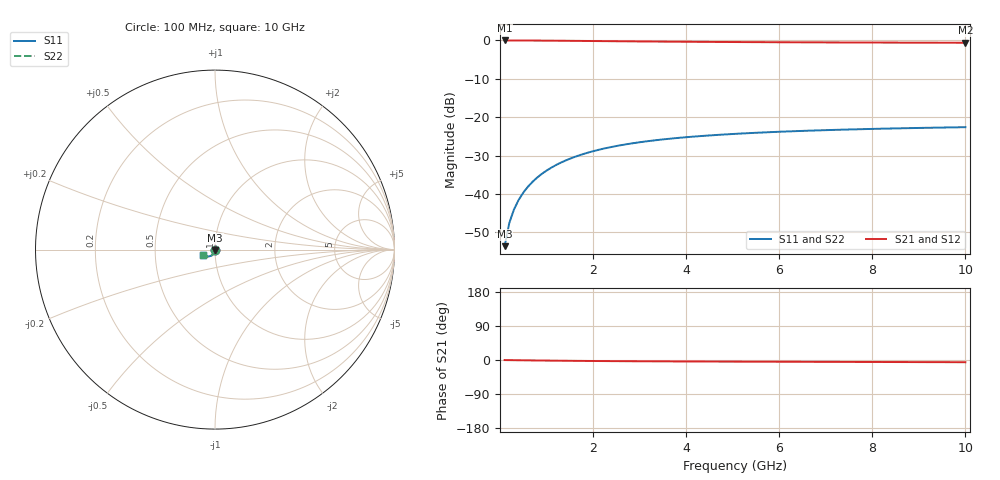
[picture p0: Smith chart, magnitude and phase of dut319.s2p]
! Touchstone file exported from HFSS 2024.1.0
!  File:  C:/UserFiles/LocalFiles/RDL_TSV_Batchsim/temp_TSV1_319_1779616734.aedt
!  Generated:  06:04:51 PM May 24, 2026
!  Design:  TSV1
!  Project:  temp_TSV1_319_1779616734
!  Setup:  Setup1
!  Solution:  Sweep
! Variables:
!  dtsv = 14.59um
!  hbump = 3um
!  htsv = 88.03um
!  lrdl = 252.1521522um
!  p = 40
!  p1 = 46.69um
!  t = 500um
!  trdl = 3um
!  wrdl = 24.89489489um
# GHz S MA R 50.000000
! Terminal data exported
! Port[1] = TSV22_T1
! Port[2] = TSV22_T2
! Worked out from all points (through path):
!   100 points, 100 MHz to 10 GHz, reference 50 ohm
!   highest |S21| = 0.00 dB at 100 MHz (marker M1); lowest = -0.6 dB at 10 GHz (marker M2)
!   lowest |S11| = -53.6 dB at 100 MHz (marker M3), VSWR 1.00, Z = 50 - j0.208 ohm
!   |S11| at or under -10 dB: start of sweep to end of sweep
!   |S22| runs from -53.6 to -22.6 dB; largest |S21 - S12| = 4.5e-15
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0.1  0.002082 -89.2  0.9998 -0.2  0.9998 -0.2  0.002082 -89.2
! Gamma 0 0 0 0
! Port Impedance 50 0 50 0
0.2  0.004165 -91.9  0.9996 -0.3  0.9996 -0.3  0.004165 -91.9
0.3  0.006246 -93.8  0.9993 -0.5  0.9993 -0.5  0.006246 -93.8
0.4  0.008314 -95.6  0.9989 -0.6  0.9989 -0.6  0.008314 -95.6
0.5  0.01036 -97.4  0.9984 -0.8  0.9984 -0.8  0.01036 -97.4
0.6  0.01238 -99.1  0.9977 -0.9  0.9977 -0.9  0.01238 -99.1
0.7  0.01437 -100.7  0.997 -1.1  0.997 -1.1  0.01437 -100.7
0.8  0.01632 -102.3  0.9962 -1.2  0.9962 -1.2  0.01632 -102.3
0.9  0.01823 -103.9  0.9953 -1.4  0.9953 -1.4  0.01823 -103.9
1.1  0.02192 -107.0  0.9934 -1.6  0.9934 -1.6  0.02192 -107.0
1.4  0.02707 -111.3  0.9901 -2.0  0.9901 -2.0  0.02707 -111.3
1.6  0.03025 -113.9  0.9877 -2.2  0.9877 -2.2  0.03025 -113.9
1.8  0.03322 -116.4  0.9853 -2.4  0.9853 -2.4  0.03322 -116.4
2.1  0.03729 -119.9  0.9816 -2.7  0.9816 -2.7  0.03729 -119.9
2.5  0.04205 -124.1  0.9767 -3.0  0.9767 -3.0  0.04205 -124.1
2.9  0.04615 -127.8  0.9722 -3.3  0.9722 -3.3  0.04615 -127.8
3.4  0.0505 -131.8  0.9669 -3.6  0.9669 -3.6  0.0505 -131.8
4.2  0.05605 -137.0  0.9597 -3.9  0.9597 -3.9  0.05605 -137.0
5.1  0.06082 -141.6  0.9531 -4.3  0.9531 -4.3  0.06082 -141.6
6.7  0.06686 -147.7  0.9444 -4.8  0.9444 -4.8  0.06686 -147.7
8.4  0.07118 -152.4  0.9378 -5.3  0.9378 -5.3  0.07117 -152.4
10  0.07404 -155.8  0.9334 -5.8  0.9334 -5.8  0.07404 -155.8
